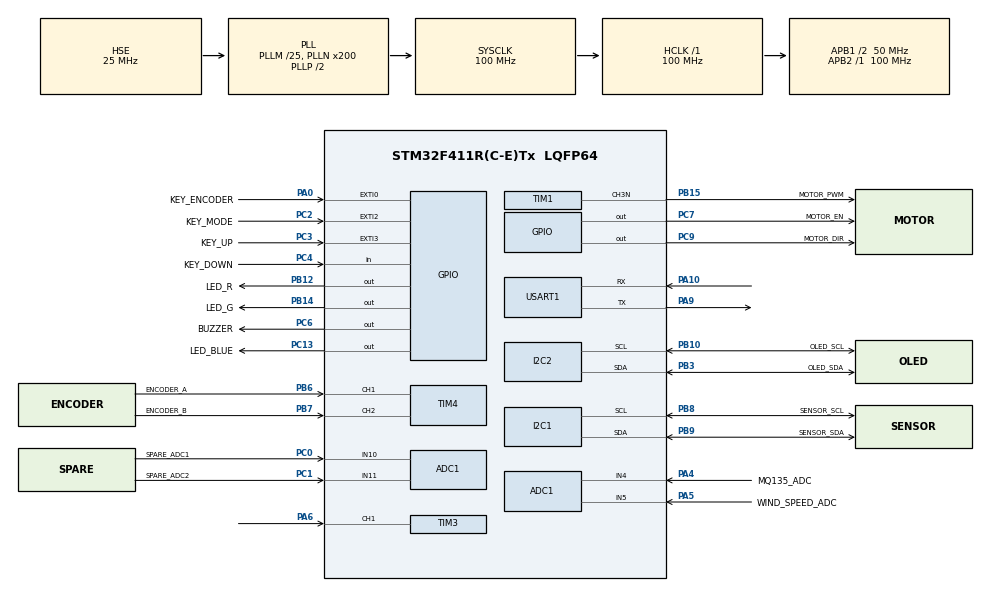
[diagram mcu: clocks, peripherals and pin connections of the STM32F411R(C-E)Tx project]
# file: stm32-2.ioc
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ADC1.Channel-0\#ChannelRegularConversion=ADC_CHANNEL_4
ADC1.Channel-1\#ChannelRegularConversion=ADC_CHANNEL_5
ADC1.Channel-2\#ChannelRegularConversion=ADC_CHANNEL_10
ADC1.Channel-3\#ChannelRegularConversion=ADC_CHANNEL_11
ADC1.ContinuousConvMode=ENABLE
ADC1.DMAContinuousRequests=ENABLE
ADC1.DiscontinuousConvMode=DISABLE
ADC1.NbrOfConversion=4
ADC1.NbrOfConversionFlag=1
ADC1.Rank-0\#ChannelRegularConversion=1
ADC1.Rank-1\#ChannelRegularConversion=2
ADC1.Rank-2\#ChannelRegularConversion=3
ADC1.Rank-3\#ChannelRegularConversion=4
ADC1.SamplingTime-0\#ChannelRegularConversion=ADC_SAMPLETIME_84CYCLES
ADC1.SamplingTime-1\#ChannelRegularConversion=ADC_SAMPLETIME_84CYCLES
ADC1.SamplingTime-2\#ChannelRegularConversion=ADC_SAMPLETIME_84CYCLES
ADC1.SamplingTime-3\#ChannelRegularConversion=ADC_SAMPLETIME_84CYCLES
ADC1.ScanConvMode=ENABLE
ADC1.master=1
Dma.ADC1.0.Direction=DMA_PERIPH_TO_MEMORY
Dma.ADC1.0.FIFOMode=DMA_FIFOMODE_DISABLE
Dma.ADC1.0.Instance=DMA2_Stream0
Dma.ADC1.0.MemDataAlignment=DMA_MDATAALIGN_HALFWORD
Dma.ADC1.0.MemInc=DMA_MINC_ENABLE
Dma.ADC1.0.Mode=DMA_CIRCULAR
Dma.ADC1.0.PeriphDataAlignment=DMA_PDATAALIGN_HALFWORD
Dma.ADC1.0.PeriphInc=DMA_PINC_DISABLE
Dma.ADC1.0.Priority=DMA_PRIORITY_VERY_HIGH
Dma.Request0=ADC1
Dma.Request1=USART1_RX
Dma.Request2=USART1_TX
Dma.USART1_RX.1.Direction=DMA_PERIPH_TO_MEMORY
Dma.USART1_RX.1.FIFOMode=DMA_FIFOMODE_DISABLE
Dma.USART1_RX.1.Instance=DMA2_Stream5
Dma.USART1_RX.1.MemDataAlignment=DMA_MDATAALIGN_BYTE
Dma.USART1_RX.1.MemInc=DMA_MINC_ENABLE
Dma.USART1_RX.1.Mode=DMA_NORMAL
Dma.USART1_RX.1.PeriphDataAlignment=DMA_PDATAALIGN_BYTE
Dma.USART1_RX.1.PeriphInc=DMA_PINC_DISABLE
Dma.USART1_RX.1.Priority=DMA_PRIORITY_HIGH
Dma.USART1_TX.2.Direction=DMA_MEMORY_TO_PERIPH
Dma.USART1_TX.2.FIFOMode=DMA_FIFOMODE_DISABLE
Dma.USART1_TX.2.Instance=DMA2_Stream7
Dma.USART1_TX.2.MemDataAlignment=DMA_MDATAALIGN_BYTE
Dma.USART1_TX.2.MemInc=DMA_MINC_ENABLE
Dma.USART1_TX.2.Mode=DMA_NORMAL
Dma.USART1_TX.2.PeriphDataAlignment=DMA_PDATAALIGN_BYTE
Dma.USART1_TX.2.PeriphInc=DMA_PINC_DISABLE
Dma.USART1_TX.2.Priority=DMA_PRIORITY_MEDIUM
FREERTOS.INCLUDE_vTaskDelayUntil=1
FREERTOS.configCHECK_FOR_STACK_OVERFLOW=1
FREERTOS.configMAX_PRIORITIES=32
FREERTOS.configTOTAL_HEAP_SIZE=20480
FREERTOS.configUSE_IDLE_HOOK=1
FREERTOS.configUSE_MALLOC_FAILED_HOOK=1
Mcu.Family=STM32F4
Mcu.Name=STM32F411R(C-E)Tx
Mcu.Package=LQFP64
NVIC.ADC_IRQn=true\:6\:0\:true\:false\:true\:true\:true\:true\:true
NVIC.DMA2_Stream0_IRQn=true\:6\:0\:true\:false\:true\:true\:false\:true\:true
NVIC.DMA2_Stream5_IRQn=true\:6\:0\:true\:false\:true\:false\:false\:true\:true
NVIC.DMA2_Stream7_IRQn=true\:6\:0\:true\:false\:true\:true\:false\:true\:true
NVIC.EXTI0_IRQn=true\:8\:0\:true\:false\:true\:false\:true\:true\:true
NVIC.EXTI2_IRQn=true\:8\:0\:true\:false\:true\:true\:true\:true\:true
NVIC.EXTI3_IRQn=true\:8\:0\:true\:false\:true\:false\:true\:true\:true
NVIC.PriorityGroup=NVIC_PRIORITYGROUP_4
NVIC.TIM1_TRG_COM_TIM11_IRQn=true\:15\:0\:false\:false\:true\:false\:false\:true\:true
NVIC.TIM1_UP_TIM10_IRQn=true\:5\:0\:false\:false\:true\:false\:false\:true\:true
NVIC.TIM3_IRQn=true\:5\:0\:false\:false\:true\:true\:true\:true\:true
NVIC.TimeBase=TIM1_TRG_COM_TIM11_IRQn
NVIC.TimeBaseIP=TIM11
NVIC.USART1_IRQn=true\:7\:0\:true\:false\:true\:true\:true\:true\:true
PA0-WKUP.GPIO_Label=KEY_ENCODER
PA0-WKUP.GPIO_PuPd=GPIO_PULLUP
PA0-WKUP.GPIO_ModeDefaultEXTI=GPIO_MODE_IT_FALLING
PA0-WKUP.Signal=GPXTI0
PA10.Mode=Asynchronous
PA10.Signal=USART1_RX
PA13.Mode=Serial_Wire
PA13.Signal=SYS_JTMS-SWDIO
PA14.Mode=Serial_Wire
PA14.Signal=SYS_JTCK-SWCLK
PA4.GPIO_Label=MQ135_ADC
PA4.Signal=ADCx_IN4
PA5.GPIO_Label=WIND_SPEED_ADC
PA5.Signal=ADCx_IN5
PA6.Signal=S_TIM3_CH1
PA9.Mode=Asynchronous
PA9.Signal=USART1_TX
PB10.GPIO_Label=OLED_SCL
PB10.Mode=I2C
PB10.Signal=I2C2_SCL
PB12.GPIO_Label=LED_R
PB12.GPIO_ModeDefaultOutputPP=GPIO_MODE_OUTPUT_PP
PB12.PinState=GPIO_PIN_SET
PB12.Signal=GPIO_Output
PB14.GPIO_Label=LED_G
PB14.PinState=GPIO_PIN_SET
PB14.Signal=GPIO_Output
PB15.GPIO_Label=MOTOR_PWM
PB15.Mode=PWM Generation3 CH3N
PB15.Signal=TIM1_CH3N
PB3.GPIO_Label=OLED_SDA
PB3.Mode=I2C
PB3.Signal=I2C2_SDA
PB6.GPIO_Label=ENCODER_A
PB6.Signal=S_TIM4_CH1
PB7.GPIO_Label=ENCODER_B
PB7.Signal=S_TIM4_CH2
PB8.GPIO_Label=SENSOR_SCL
PB8.Mode=I2C
PB8.Signal=I2C1_SCL
PB9.GPIO_Label=SENSOR_SDA
PB9.Mode=I2C
PB9.Signal=I2C1_SDA
PC0.GPIO_Label=SPARE_ADC1
PC0.Signal=ADCx_IN10
PC1.GPIO_Label=SPARE_ADC2
PC1.Signal=ADCx_IN11
PC13-ANTI_TAMP.GPIO_Label=LED_BLUE
PC13-ANTI_TAMP.PinState=GPIO_PIN_SET
PC13-ANTI_TAMP.Signal=GPIO_Output
PC2.GPIO_Label=KEY_MODE
PC2.GPIO_PuPd=GPIO_PULLDOWN
PC2.GPIO_ModeDefaultEXTI=GPIO_MODE_IT_RISING
PC2.Signal=GPXTI2
PC3.GPIO_Label=KEY_UP
PC3.GPIO_PuPd=GPIO_PULLDOWN
PC3.GPIO_ModeDefaultEXTI=GPIO_MODE_IT_RISING
PC3.Signal=GPXTI3
PC4.GPIO_Label=KEY_DOWN
PC4.GPIO_PuPd=GPIO_PULLDOWN
PC4.Signal=GPIO_Input
PC6.GPIO_Label=BUZZER
PC6.Signal=GPIO_Output
PC7.GPIO_Label=MOTOR_EN
PC7.GPIO_Speed=GPIO_SPEED_FREQ_HIGH
PC7.Signal=GPIO_Output
PC9.GPIO_Label=MOTOR_DIR
PC9.Signal=GPIO_Output
PH0\ -\ OSC_IN.Mode=HSE-External-Oscillator
PH0\ -\ OSC_IN.Signal=RCC_OSC_IN
PH1\ -\ OSC_OUT.Mode=HSE-External-Oscillator
PH1\ -\ OSC_OUT.Signal=RCC_OSC_OUT
ProjectManager.HeapSize=0x200
ProjectManager.StackSize=0x400
ProjectManager.TargetToolchain=CMake
RCC.48MHZClocksFreq_Value=50000000
RCC.AHBFreq_Value=100000000
RCC.APB1CLKDivider=RCC_HCLK_DIV2
RCC.APB1Freq_Value=50000000
RCC.APB1TimFreq_Value=100000000
RCC.APB2Freq_Value=100000000
RCC.APB2TimFreq_Value=100000000
RCC.CortexFreq_Value=100000000
RCC.HCLKFreq_Value=100000000
RCC.HSE_VALUE=25000000
RCC.HSI_VALUE=16000000
RCC.LSE_VALUE=32768
RCC.PLLM=25
RCC.PLLN=200
RCC.PLLSourceVirtual=RCC_PLLSOURCE_HSE
RCC.SYSCLKFreq_VALUE=100000000
RCC.SYSCLKSource=RCC_SYSCLKSOURCE_PLLCLK
RCC.VCOOutputFreq_Value=200000000
SH.ADCx_IN10.0=ADC1_IN10,IN10
SH.ADCx_IN11.0=ADC1_IN11,IN11
SH.ADCx_IN4.0=ADC1_IN4,IN4
SH.ADCx_IN5.0=ADC1_IN5,IN5
SH.S_TIM3_CH1.0=TIM3_CH1,Input_Capture1_from_TI1
SH.S_TIM4_CH1.0=TIM4_CH1,Encoder_Interface
SH.S_TIM4_CH2.0=TIM4_CH2,Encoder_Interface
TIM1.Channel-PWM\ Generation3\ CH3N=TIM_CHANNEL_3
TIM1.OCNPolarity_3=TIM_OCNPOLARITY_LOW
TIM1.Period=999
TIM1.Prescaler=4
TIM3.Channel-Input_Capture1_from_TI1=TIM_CHANNEL_1
TIM3.Prescaler=99
TIM4.AutoReloadPreload=TIM_AUTORELOAD_PRELOAD_ENABLE
TIM4.EncoderMode=TIM_ENCODERMODE_TI12
USART1.VirtualMode=VM_ASYNC
VP_FREERTOS_VS_CMSIS_V1.Mode=CMSIS_V1
VP_SYS_VS_tim11.Mode=TIM11
VP_TIM1_VS_ClockSourceINT.Mode=Internal
VP_TIM3_VS_ClockSourceINT.Mode=Internal
board=custom

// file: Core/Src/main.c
/* USER CODE BEGIN Header */
/**
  ******************************************************************************
  * @file           : main.c
  * @brief          : Main program body
  ******************************************************************************
  * @attention
  *
  * Copyright (c) 2026 STMicroelectronics.
  * All rights reserved.
  *
  * This software is licensed under terms that can be found in the LICENSE file
  * in the root directory of this software component.
  * If no LICENSE file comes with this software, it is provided AS-IS.
  *
  ******************************************************************************
  */
/* USER CODE END Header */
#include "main.h"
#include "cmsis_os.h"
#include "adc.h"
#include "dma.h"
#include "i2c.h"
#include "tim.h"
#include "usart.h"
#include "gpio.h"

/* USER CODE BEGIN Includes */
#include "app_main.h"
#include "tasks.h"
#include "bsp_timer.h"
#include "motor.h"
#include "system_fault.h"
#include <stdio.h>
/* USER CODE END Includes */

void SystemClock_Config(void);

/* USER CODE BEGIN 0 */

/**
 * @brief  重定向printf到USART1
 * @param  ch: 要发送的字符
 * @retval 发送的字符
 */
int __io_putchar(int ch)
{
    HAL_UART_Transmit(&huart1, (uint8_t *)&ch, 1, 20U);
    return ch;
}

/* USER CODE END 0 */

int main(void)
{

  /* USER CODE BEGIN 1 */
  SystemFault_Boot();
  /* USER CODE END 1 */

  /* MCU Configuration--------------------------------------------------------*/

  /* Reset of all peripherals, Initializes the Flash interface and the Systick. */
  HAL_Init();

  /* Configure the system clock */
  SystemClock_Config();

  /* Initialize all configured peripherals */
  MX_GPIO_Init();
  MX_DMA_Init();
  MX_ADC1_Init();
  MX_I2C1_Init();
  MX_I2C2_Init();
  MX_USART1_UART_Init();
  MX_TIM1_Init();
  MX_TIM3_Init();
  MX_TIM4_Init();
  /* USER CODE BEGIN 2 */

  /* 统一启动入口：组件初始化和测速资源启动由 App_Init 管理。 */
  if (!App_Init() || !Tasks_Init()) {
    Motor_Enable(false);
    printf("[BOOT] Startup failed; motor disabled\r\n");
    Error_Handler();
  }
  App_Start();

  /* USER CODE END 2 */

  /* Start scheduler */
  osKernelStart();

  /* We should never get here as control is now taken by the scheduler */

  /* Infinite loop */
  while (1)
  {

  }
}

void SystemClock_Config(void)
{
  RCC_OscInitTypeDef RCC_OscInitStruct = {0};
  RCC_ClkInitTypeDef RCC_ClkInitStruct = {0};

  /** Configure the main internal regulator output voltage
  */
  __HAL_RCC_PWR_CLK_ENABLE();
  __HAL_PWR_VOLTAGESCALING_CONFIG(PWR_REGULATOR_VOLTAGE_SCALE1);

  /** Initializes the RCC Oscillators according to the specified parameters
  * in the RCC_OscInitTypeDef structure.
  */
  RCC_OscInitStruct.OscillatorType = RCC_OSCILLATORTYPE_HSE;
  RCC_OscInitStruct.HSEState = RCC_HSE_ON;
  RCC_OscInitStruct.PLL.PLLState = RCC_PLL_ON;
  RCC_OscInitStruct.PLL.PLLSource = RCC_PLLSOURCE_HSE;
  RCC_OscInitStruct.PLL.PLLM = 25;
  RCC_OscInitStruct.PLL.PLLN = 200;
  RCC_OscInitStruct.PLL.PLLP = RCC_PLLP_DIV2;
  RCC_OscInitStruct.PLL.PLLQ = 4;
  if (HAL_RCC_OscConfig(&RCC_OscInitStruct) != HAL_OK)
  {
    Error_Handler();
  }

  /** Initializes the CPU, AHB and APB buses clocks
  */
  RCC_ClkInitStruct.ClockType = RCC_CLOCKTYPE_HCLK|RCC_CLOCKTYPE_SYSCLK
                              |RCC_CLOCKTYPE_PCLK1|RCC_CLOCKTYPE_PCLK2;
  RCC_ClkInitStruct.SYSCLKSource = RCC_SYSCLKSOURCE_PLLCLK;
  RCC_ClkInitStruct.AHBCLKDivider = RCC_SYSCLK_DIV1;
  RCC_ClkInitStruct.APB1CLKDivider = RCC_HCLK_DIV2;
  RCC_ClkInitStruct.APB2CLKDivider = RCC_HCLK_DIV1;

  if (HAL_RCC_ClockConfig(&RCC_ClkInitStruct, FLASH_LATENCY_3) != HAL_OK)
  {
    Error_Handler();
  }
}

void HAL_TIM_PeriodElapsedCallback(TIM_HandleTypeDef *htim)
{
  if (htim->Instance == TIM11)
  {
    HAL_IncTick();
  }
  /* USER CODE BEGIN Callback 1 */
  else if (htim->Instance == TIM3)
  {
    Bsp_Timer_SpeedCapture_Overflow();
  }

  /* USER CODE END Callback 1 */
}

void Error_Handler(void)
{
  /* USER CODE BEGIN Error_Handler_Debug */
  SystemFault_Fatal(FAULT_REASON_STARTUP, 0);
  /* User can add his own implementation to report the HAL error return state */
  __disable_irq();
  while (1)
  {
  }
  /* USER CODE END Error_Handler_Debug */
}

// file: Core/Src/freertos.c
/* USER CODE BEGIN Header */
/**
  ******************************************************************************
  * File Name          : freertos.c
  * Description        : Code for freertos applications
  ******************************************************************************
  * @attention
  *
  * Copyright (c) 2026 STMicroelectronics.
  * All rights reserved.
  *
  * This software is licensed under terms that can be found in the LICENSE file
  * in the root directory of this software component.
  * If no LICENSE file comes with this software, it is provided AS-IS.
  *
  ******************************************************************************
  */
/* USER CODE END Header */

#include "FreeRTOS.h"
#include "task.h"
#include "main.h"
#include "cmsis_os.h"

/* USER CODE BEGIN Includes */
/* 应用任务统一由 main.c 调用 Tasks_Init 创建，这里只保留 RTOS hooks。 */
#include "system_fault.h"
#include "tasks.h"
/* USER CODE END Includes */

void MX_FREERTOS_Init(void); /* (MISRA C 2004 rule 8.1) */

/* GetIdleTaskMemory prototype (linked to static allocation support) */
void vApplicationGetIdleTaskMemory( StaticTask_t **ppxIdleTaskTCBBuffer, StackType_t **ppxIdleTaskStackBuffer, uint32_t *pulIdleTaskStackSize );

/* Hook prototypes */
void vApplicationIdleHook(void);
void vApplicationStackOverflowHook(xTaskHandle xTask, signed char *pcTaskName);
void vApplicationMallocFailedHook(void);

/* USER CODE BEGIN 2 */
__weak void vApplicationIdleHook( void )
{
   Tasks_ReportIdleHeartbeat();
   /* vApplicationIdleHook() will only be called if configUSE_IDLE_HOOK is set
   to 1 in FreeRTOSConfig.h. It will be called on each iteration of the idle
   task. It is essential that code added to this hook function never attempts
   to block in any way (for example, call xQueueReceive() with a block time
   specified, or call vTaskDelay()). If the application makes use of the
   vTaskDelete() API function (as this demo application does) then it is also
   important that vApplicationIdleHook() is permitted to return to its calling
   function, because it is the responsibility of the idle task to clean up
   memory allocated by the kernel to any task that has since been deleted. */
}
/* USER CODE END 2 */

/* USER CODE BEGIN 4 */
__weak void vApplicationStackOverflowHook(xTaskHandle xTask, signed char *pcTaskName)
{
   (void)pcTaskName;
   SystemFault_Fatal(FAULT_REASON_STACK, (uint32_t)xTask);
   /* Run time stack overflow checking is performed if
   configCHECK_FOR_STACK_OVERFLOW is defined to 1 or 2. This hook function is
   called if a stack overflow is detected. */
}
/* USER CODE END 4 */

/* USER CODE BEGIN 5 */
__weak void vApplicationMallocFailedHook(void)
{
   SystemFault_Fatal(FAULT_REASON_MALLOC, 0);
   /* vApplicationMallocFailedHook() will only be called if
   configUSE_MALLOC_FAILED_HOOK is set to 1 in FreeRTOSConfig.h. It is a hook
   function that will get called if a call to pvPortMalloc() fails.
   pvPortMalloc() is called internally by the kernel whenever a task, queue,
   timer or semaphore is created. It is also called by various parts of the
   demo application. If heap_1.c or heap_2.c are used, then the size of the
   heap available to pvPortMalloc() is defined by configTOTAL_HEAP_SIZE in
   FreeRTOSConfig.h, and the xPortGetFreeHeapSize() API function can be used
   to query the size of free heap space that remains (although it does not
   provide information on how the remaining heap might be fragmented). */
}
/* USER CODE END 5 */

/* USER CODE BEGIN GET_IDLE_TASK_MEMORY */
static StaticTask_t xIdleTaskTCBBuffer;
static StackType_t xIdleStack[configMINIMAL_STACK_SIZE];

void vApplicationGetIdleTaskMemory( StaticTask_t **ppxIdleTaskTCBBuffer, StackType_t **ppxIdleTaskStackBuffer, uint32_t *pulIdleTaskStackSize )
{
  *ppxIdleTaskTCBBuffer = &xIdleTaskTCBBuffer;
  *ppxIdleTaskStackBuffer = &xIdleStack[0];
  *pulIdleTaskStackSize = configMINIMAL_STACK_SIZE;
  /* place for user code */
}
/* USER CODE END GET_IDLE_TASK_MEMORY */

void MX_FREERTOS_Init(void) {

}
